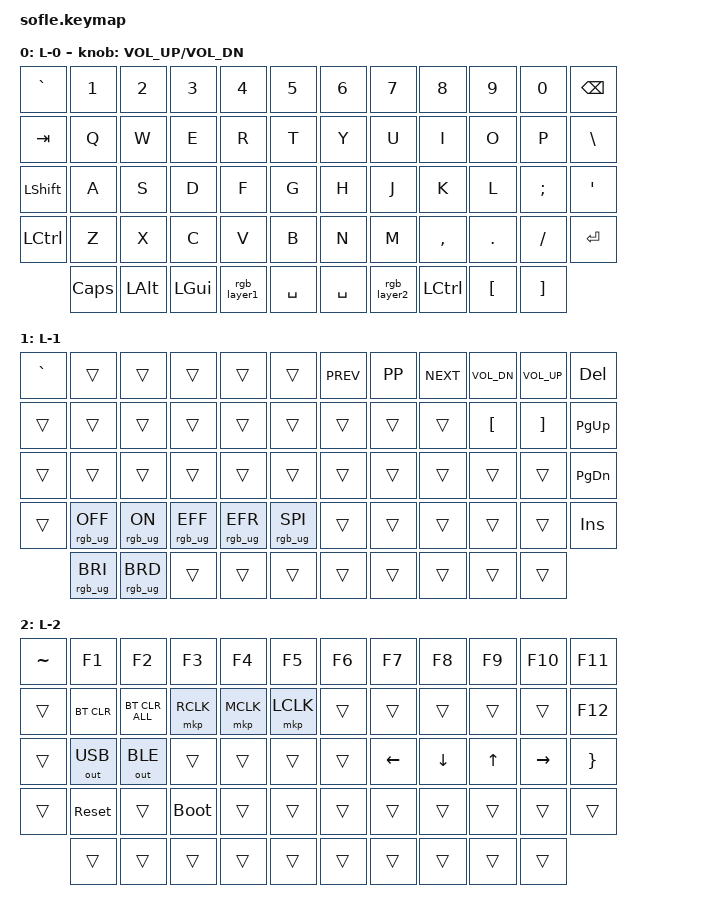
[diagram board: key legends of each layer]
// /*
//  * Copyright (c) 2020 The ZMK Contributors
//  *
//  * SPDX-License-Identifier: MIT
//  */
//
// #include <behaviors.dtsi>
// #include <dt-bindings/zmk/keys.h>
// #include <dt-bindings/zmk/bt.h>
// #include <dt-bindings/zmk/rgb.h>
// #include <dt-bindings/zmk/ext_power.h>
//
// #define BASE 0
// #define LOWER 1
// #define RAISE 2
// #define ADJUST 3
//
// / {
//
//    // Activate ADJUST layer by pressing raise and lower
//     conditional_layers {
//         compatible = "zmk,conditional-layers";
//         adjust_layer {
//             if-layers = <LOWER RAISE>;
//             then-layer = <ADJUST>;
//         };
//     };
//
//     keymap {
//         compatible = "zmk,keymap";
//
//         default_layer {
//             display-name = "default";
// // ------------------------------------------------------------------------------------------------------------
// // |   `   |  1  |  2  |  3   |  4   |  5   |                   |  6   |  7    |  8    |  9   |   0   |       |
// // |  ESC  |  Q  |  W  |  E   |  R   |  T   |                   |  Y   |  U    |  I    |  O   |   P   | BKSPC |
// // |  TAB  |  A  |  S  |  D   |  F   |  G   |                   |  H   |  J    |  K    |  L   |   ;   |   '   |
// // | SHIFT |  Z  |  X  |  C   |  V   |  B   |  MUTE  |  |       |  N   |  M    |  ,    |  .   |   /   | SHIFT |
// //               | GUI | ALT  | CTRL | LOWER|  ENTER |  | SPACE | RAISE| CTRL  | ALT   | GUI  |
//             bindings = <
// &kp GRAVE &kp N1 &kp N2   &kp N3   &kp N4    &kp N5                           &kp N6 &kp N7    &kp N8    &kp N9   &kp N0   &none
// &kp ESC   &kp Q  &kp W    &kp E    &kp R     &kp T                            &kp Y  &kp U     &kp I     &kp O    &kp P    &kp BSPC
// &kp TAB   &kp A  &kp S    &kp D    &kp F     &kp G                            &kp H  &kp J     &kp K     &kp L    &kp SEMI &kp SQT
// &kp LSHFT &kp Z  &kp X    &kp C    &kp V     &kp B      &kp C_MUTE &none      &kp N  &kp M     &kp COMMA &kp DOT  &kp FSLH &kp RSHFT
//                  &kp LGUI &kp LALT &kp LCTRL &mo LOWER  &kp RET    &kp SPACE  &mo RAISE  &kp RCTRL &kp RALT  &kp RGUI
//             >;
//
//             sensor-bindings = <&inc_dec_kp C_VOL_UP C_VOL_DN &inc_dec_kp PG_UP PG_DN>;
//         };
//
//         lower_layer {
//             display-name = "lower";
// // TODO: Some binds are waiting for shifted keycode support.
// // ------------------------------------------------------------------------------------------------------------
// // |       |  F1 |  F2 |  F3  |  F4  |  F5  |                   |  F6  |  F7   |  F8   |  F9  |  F10  |  F11  |
// // |   `   |  1  |  2  |  3   |  4   |  5   |                   |  6   |  7    |  8    |  9   |   0   |  F12  |
// // |       |  !  |  @  |  #   |  $   |  %   |                   |  ^   |  &    |  *    |  (   |   )   |   |   |
// // |       |  =  |  -  |  +   |  {   |  }   |        |  |       |  [   |  ]    |  ;    |  :   |   \   |       |
// //               |     |      |      |      |        |  |       |      |       |       |      |
//             bindings = <
// &trans    &kp F1    &kp F2    &kp F3      &kp F4    &kp F5                    &kp F6    &kp F7   &kp F8    &kp F9    &kp F10   &kp F11
// &kp GRAVE &kp N1    &kp N2    &kp N3      &kp N4    &kp N5                    &kp N6    &kp N7   &kp N8    &kp N9    &kp N0    &kp F12
// &trans    &kp EXCL  &kp AT    &kp HASH    &kp DLLR  &kp PRCNT                 &kp CARET &kp AMPS &kp ASTRK &kp LPAR  &kp RPAR  &kp PIPE
// &trans    &kp EQUAL &kp MINUS &kp PLUS &kp LBRC  &kp RBRC   &trans &trans  &kp LBKT  &kp RBKT &kp SEMI  &kp COLON &kp BSLH  &trans
//                     &trans    &trans      &trans    &trans     &trans &trans  &trans    &trans   &trans    &trans
//             >;
//
//             sensor-bindings = <&inc_dec_kp C_VOL_UP C_VOL_DN &inc_dec_kp PG_UP PG_DN>;
//         };
//
//         raise_layer {
//             display-name = "raise";
// // ------------------------------------------------------------------------------------------------------------
// // | BTCLR | BT1  | BT2  |  BT3  |  BT4  |  BT5 |                |      |      |       |      |       |       |
// // |       | INS  | PSCR | GUI   |       |      |                | PGUP |      |   ^   |      |       |       |
// // |       | ALT  | CTRL | SHIFT |       | CAPS |                | PGDN |   <- |   v   |  ->  |  DEL  | BKSPC |
// // |       | UNDO | CUT  | COPY  | PASTE |      |      |  |      |      |      |       |      |       |       |
// //                |      |       |       |      |      |  |      |      |      |       |      |
//             bindings = <
// &bt BT_CLR &bt BT_SEL 0 &bt BT_SEL 1 &bt BT_SEL 2 &bt BT_SEL 3 &bt BT_SEL 4                  &trans    &trans    &trans   &trans    &trans  &trans
// &trans     &kp INS      &kp PSCRN    &kp K_CMENU  &trans       &trans                        &kp PG_UP &trans    &kp UP   &trans    &kp N0  &trans
// &trans     &kp LALT     &kp LCTRL    &kp LSHFT    &trans       &kp CLCK                      &kp PG_DN &kp LEFT  &kp DOWN &kp RIGHT &kp DEL &kp BSPC
// &trans     &kp K_UNDO   &kp K_CUT    &kp K_COPY   &kp K_PASTE  &trans        &trans  &trans  &trans    &trans    &trans   &trans    &trans  &trans
//                         &trans       &trans       &trans       &trans        &trans  &trans  &trans    &trans    &trans   &trans
//             >;
//
//             sensor-bindings = <&inc_dec_kp C_VOL_UP C_VOL_DN &inc_dec_kp PG_UP PG_DN>;
//         };
//
//         adjust_layer {
// // ----------------------------------------------------------------------------------------------------------------------------
// // | BTCLR  |  BT1    |  BT2    |   BT3   |   BT4   |   BT5   |                  |      |      |       |      |       |       |
// // | EXTPWR | RGB_HUD | RGB_HUI | RGB_SAD | RGB_SAI | RGB_EFF |                  |      |      |       |      |       |       |
// // |        | RGB_BRD | RGB_BRI |         |         |         |                  |      |      |       |      |       |       |
// // |        |         |         |         |         |         | RGB_TOG | |      |      |      |       |      |       |       |
// //                    |         |         |         |         |         | |      |      |      |       |      |
//             display-name = "adjust";
//             bindings = <
// &bt BT_CLR        &bt BT_SEL 0    &bt BT_SEL 1    &bt BT_SEL 2    &bt BT_SEL 3    &bt BT_SEL 4                            &none &none &none &none &none &none
// &ext_power EP_TOG &rgb_ug RGB_HUD &rgb_ug RGB_HUI &rgb_ug RGB_SAD &rgb_ug RGB_SAI &rgb_ug RGB_EFF                         &none &none &none &none &none &none
// &none             &rgb_ug RGB_BRD &rgb_ug RGB_BRI &none           &none           &none                                   &none &none &none &none &none &none
// &none             &none           &none           &none           &none           &none            &rgb_ug RGB_TOG &none  &none &none &none &none &none &none
//                                   &none           &none           &none           &none            &none           &none  &none &none &none &none
//             >;
//         };
//
//     };
// };



#define ZMK_POINTING_DEFAULT_MOVE_VAL 1200  // 600
#define ZMK_POINTING_DEFAULT_SCRL_VAL 25   // 10

#include <input/processors.dtsi>
#include <zephyr/dt-bindings/input/input-event-codes.h>
#include <behaviors.dtsi>
#include <dt-bindings/zmk/bt.h>
#include <dt-bindings/zmk/ext_power.h>
#include <dt-bindings/zmk/keys.h>
#include <dt-bindings/zmk/pointing.h>
#include <dt-bindings/zmk/rgb.h>
#include <dt-bindings/zmk/outputs.h>


/ {
    macros {
        ZMK_MACRO(rgb_layer1,
            wait-ms = <0>;
            tap-ms = <0>;
            bindings
                = <&macro_press &mo 1>
                , <&macro_tap &rgb_ug RGB_COLOR_HSB(60,100,10)>
                , <&macro_pause_for_release>
                , <&macro_release &mo 1>
                , <&macro_tap &rgb_ug RGB_COLOR_HSB(128,100,10)>
            ;
        )

        ZMK_MACRO(rgb_layer2,
            wait-ms = <0>;
            tap-ms = <0>;
            bindings
                = <&macro_press &mo 2>
                , <&macro_tap &rgb_ug RGB_COLOR_HSB(220,100,10)>
                , <&macro_pause_for_release>
                , <&macro_release &mo 2>
                , <&macro_tap &rgb_ug RGB_COLOR_HSB(128,100,10)>
            ;
        )
    };

    keymap {
        compatible = "zmk,keymap";
        layer0 {
            bindings = <
                &kp GRAVE  &kp N1           &kp N2           &kp N3           &kp N4          &kp N5                      &kp N6      &kp N7          &kp N8          &kp N9        &kp N0           &kp BACKSPACE
                &kp TAB    &kp Q            &kp W            &kp E            &kp R           &kp T                       &kp Y       &kp U           &kp I           &kp O         &kp P            &kp BSLH
                &kp LSHFT  &kp A            &kp S            &kp D            &kp F           &kp G                       &kp H       &kp J           &kp K           &kp L         &kp SEMI         &kp SQT
                &kp LCTRL  &kp Z            &kp X            &kp C            &kp V           &kp B                       &kp N       &kp M           &kp COMMA       &kp DOT       &kp FSLH         &kp ENTER
                           &kp CAPS         &kp LALT         &kp LEFT_GUI     &rgb_layer1     &kp SPACE                   &kp SPACE   &rgb_layer2     &kp LCTRL       &kp LBKT      &kp RBKT
            >;
            sensor-bindings = <&inc_dec_kp C_VOLUME_UP C_VOL_DN>;
            display-name = "L-0";
        };

        layer_1 {
            bindings = <
                &kp GRAVE  &trans           &trans           &trans           &trans           &trans                     &kp K_PREV  &kp K_PP        &kp K_NEXT      &kp K_VOL_DN  &kp K_VOL_UP     &kp DELETE
                &trans     &trans           &trans           &trans           &trans           &trans                     &trans      &trans          &trans          &kp LBKT      &kp RBKT         &kp PG_UP
                &trans     &trans           &trans           &trans           &trans           &trans                     &trans      &trans          &trans          &trans        &trans           &kp PG_DN
                &trans     &rgb_ug RGB_OFF  &rgb_ug RGB_ON   &rgb_ug RGB_EFF  &rgb_ug RGB_EFR  &rgb_ug RGB_SPI            &trans      &trans          &trans          &trans        &trans           &kp INS
                           &rgb_ug RGB_BRI  &rgb_ug RGB_BRD  &trans           &trans           &trans                     &trans      &trans          &trans          &trans        &trans
            >;
            display-name = "L-1";
        };

        layer_2 {
            bindings = <
                &kp TILDE  &kp F1           &kp F2           &kp F3           &kp F4           &kp F5                     &kp F6      &kp F7          &kp F8          &kp F9        &kp F10          &kp F11
                &trans     &bt BT_CLR       &bt BT_CLR_ALL   &mkp RCLK        &mkp MCLK        &mkp LCLK                  &trans      &trans          &trans          &trans        &trans           &kp F12
                &trans     &out OUT_USB     &out OUT_BLE     &trans           &trans           &trans                     &trans      &kp LEFT_ARROW  &kp DOWN_ARROW  &kp UP_ARROW  &kp RIGHT_ARROW  &kp RBRC
                &trans     &sys_reset       &trans           &bootloader      &trans           &trans                     &trans      &trans          &trans          &trans        &trans           &trans
                           &trans           &trans           &trans           &trans           &trans                     &trans      &trans          &trans          &trans        &trans
            >;
            display-name = "L-2";
        };
    };
};

